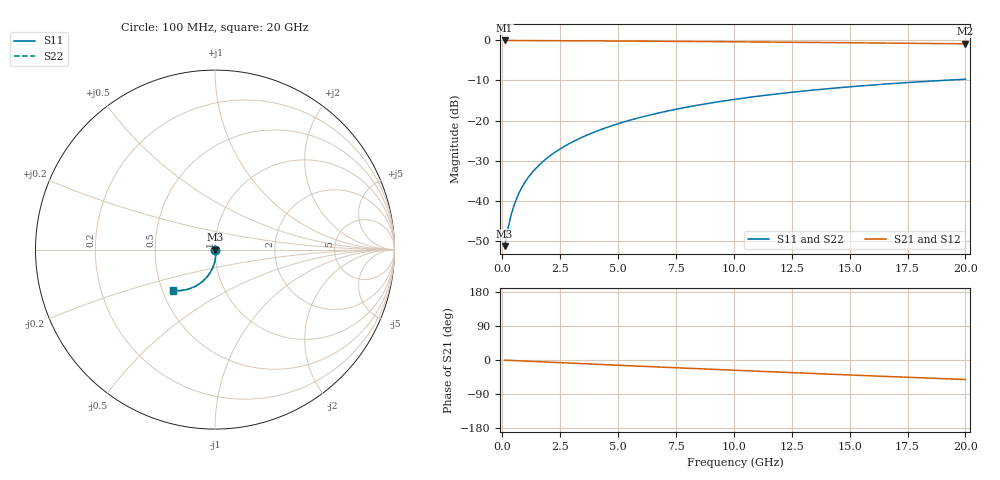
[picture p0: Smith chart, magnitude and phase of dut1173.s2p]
! Touchstone file exported from HFSS 2026.1.0
!  File:  C:/ffzhzh/LocalFiles/Ansys_Project_Files/temp_train_BSMRDL_1173_1783175993_22436.aedt
!  Generated:  10:41:21 PM Jul  4, 2026
!  Design:  BSMRDL
!  Project:  temp_train_BSMRDL_1173_1783175993_22436
! Variables:
!  h_bsmrdl = 4.83um
!  h_ox = 20um
!  h_rdl = 5um
!  h_sub = 80um
!  h_tmrdl = 5um
!  h_tsv = 80um
!  h_via = 3um
!  l_bsmrdl = 853.07um
!  l_sub = 1253.07um
!  l_tmrdl = 200um
!  m_sub = 200um
!  pitch = 31.23um
!  r_tsv = 6um
!  s_tmrdl = 10um
!  w_bsmrdl = 29.41um
!  w_sub = 500um
!  w_tmrdl = 12um
!  x_tsv_center1 = 206um
!  x_tsv_center2 = 1088.48um
!  x_tsv_center3 = 1300.48um
!  x_tsv_center4 = 2182.96um
!  x_tsv_center5 = 2394.96um
!  x_tsv_center6 = 3277.44um
# GHz S MA R 50.000000
! Terminal data exported
! Port[1] = BSM_RDL1_1_T1
! Port[2] = BSM_RDL1_1_T2
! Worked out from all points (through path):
!   200 points, 100 MHz to 20 GHz, reference 50 ohm
!   highest |S21| = -0.02 dB at 100 MHz (marker M1); lowest = -0.9 dB at 20 GHz (marker M2)
!   group delay of S21, straight-line fit = 7.14 ps
!   lowest |S11| = -51.3 dB at 100 MHz (marker M3), VSWR 1.01, Z = 50.3 - j0.0729 ohm
!   |S11| at or under -10 dB: start of sweep to 18.98 GHz
!   |S22| runs from -51.3 to -9.7 dB; largest |S21 - S12| = 1.7e-14
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0.1  0.002718 -15.5  0.9974 -0.3  0.9974 -0.3  0.002718 -15.5
! Gamma 0 0 0 0
! Port Impedance 50 0 50 0
0.3  0.005297 -41.6  0.996 -0.9  0.996 -0.9  0.005298 -41.6
0.4  0.006932 -50.2  0.9955 -1.2  0.9955 -1.2  0.006932 -50.2
0.5  0.008635 -56.7  0.9951 -1.5  0.9951 -1.5  0.008636 -56.7
0.6  0.01037 -61.6  0.9948 -1.8  0.9948 -1.8  0.01037 -61.6
0.8  0.01387 -68.4  0.9943 -2.3  0.9943 -2.3  0.01387 -68.4
1.1  0.01917 -74.6  0.9938 -3.2  0.9938 -3.2  0.01917 -74.6
1.3  0.02272 -77.3  0.9934 -3.7  0.9934 -3.7  0.02272 -77.3
1.5  0.02629 -79.5  0.993 -4.3  0.993 -4.3  0.02629 -79.5
1.8  0.03167 -82.0  0.9923 -5.1  0.9923 -5.1  0.03167 -82.0
2.1  0.03709 -83.9  0.9916 -6.0  0.9916 -6.0  0.0371 -83.9
2.7  0.04808 -87.0  0.99 -7.6  0.99 -7.6  0.04808 -87.0
3.5  0.06296 -90.2  0.9875 -9.8  0.9875 -9.8  0.06296 -90.2
4.2  0.07615 -92.7  0.9851 -11.7  0.9851 -11.7  0.07615 -92.7
5  0.09131 -95.4  0.9821 -13.9  0.9821 -13.9  0.09132 -95.3
5.9  0.1084 -98.2  0.9786 -16.3  0.9786 -16.3  0.1084 -98.2
6.8  0.1253 -101.0  0.9749 -18.6  0.9749 -18.6  0.1253 -100.9
8.3  0.153 -105.5  0.9684 -22.6  0.9684 -22.6  0.153 -105.4
10.1  0.1851 -110.6  0.96 -27.2  0.96 -27.2  0.1851 -110.6
13.4  0.2396 -119.6  0.9429 -35.6  0.9429 -35.6  0.2396 -119.5
16.7  0.2874 -128.1  0.9244 -43.7  0.9244 -43.7  0.2874 -128.0
20  0.328 -136.1  0.9057 -51.5  0.9057 -51.5  0.328 -136.0
